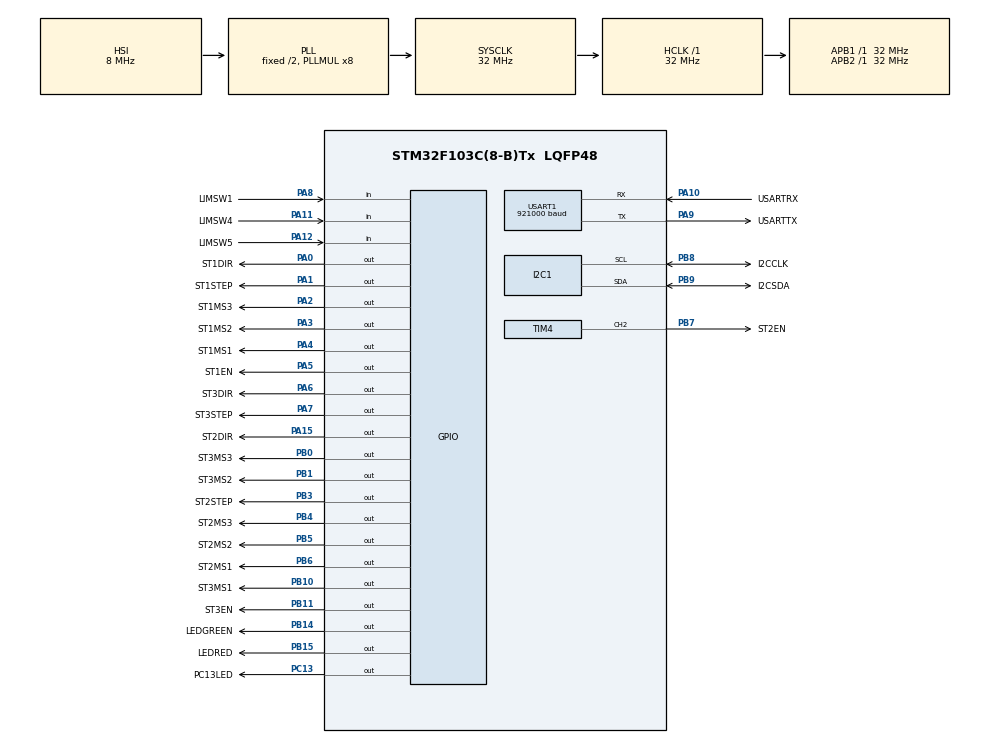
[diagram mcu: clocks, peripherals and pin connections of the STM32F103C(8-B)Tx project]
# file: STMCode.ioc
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I2C1.GeneralCallMode=I2C_GENERALCALL_ENABLE
I2C1.I2C_Mode=I2C_Fast
I2C1.OwnAddress=0x01
Mcu.Family=STM32F1
Mcu.Name=STM32F103C(8-B)Tx
Mcu.Package=LQFP48
NVIC.I2C1_ER_IRQn=true\:0\:0\:false\:true\:true\:2\:true\:true
NVIC.I2C1_EV_IRQn=true\:0\:0\:false\:true\:true\:1\:true\:true
NVIC.PriorityGroup=NVIC_PRIORITYGROUP_4
PA0-WKUP.GPIO_Label=ST1DIR
PA0-WKUP.GPIO_PuPd=GPIO_PULLDOWN
PA0-WKUP.Signal=GPIO_Output
PA1.GPIO_Label=ST1STEP
PA1.GPIO_PuPd=GPIO_PULLDOWN
PA1.Signal=GPIO_Output
PA10.GPIO_Label=USARTRX
PA10.Mode=Asynchronous
PA10.Signal=USART1_RX
PA11.GPIO_Label=LIMSW4
PA11.Signal=GPIO_Input
PA12.GPIO_Label=LIMSW5
PA12.Signal=GPIO_Input
PA13.Mode=Serial_Wire
PA13.Signal=SYS_JTMS-SWDIO
PA14.Mode=Serial_Wire
PA14.Signal=SYS_JTCK-SWCLK
PA15.GPIO_Label=ST2DIR
PA15.GPIO_PuPd=GPIO_PULLDOWN
PA15.Signal=GPIO_Output
PA2.GPIO_Label=ST1MS3
PA2.Signal=GPIO_Output
PA3.GPIO_Label=ST1MS2
PA3.Signal=GPIO_Output
PA4.GPIO_Label=ST1MS1
PA4.Signal=GPIO_Output
PA5.GPIO_Label=ST1EN
PA5.GPIO_PuPd=GPIO_PULLUP
PA5.Signal=GPIO_Output
PA6.GPIO_Label=ST3DIR
PA6.GPIO_PuPd=GPIO_PULLDOWN
PA6.Signal=GPIO_Output
PA7.GPIO_Label=ST3STEP
PA7.GPIO_PuPd=GPIO_PULLDOWN
PA7.Signal=GPIO_Output
PA8.GPIO_Label=LIMSW1
PA8.Signal=GPIO_Input
PA9.GPIO_Label=USARTTX
PA9.Mode=Asynchronous
PA9.Signal=USART1_TX
PB0.GPIO_Label=ST3MS3
PB0.Signal=GPIO_Output
PB1.GPIO_Label=ST3MS2
PB1.Signal=GPIO_Output
PB10.GPIO_Label=ST3MS1
PB10.Signal=GPIO_Output
PB11.GPIO_Label=ST3EN
PB11.GPIO_PuPd=GPIO_PULLUP
PB11.Signal=GPIO_Output
PB14.GPIO_Label=LEDGREEN
PB14.Signal=GPIO_Output
PB15.GPIO_Label=LEDRED
PB15.Signal=GPIO_Output
PB3.GPIO_Label=ST2STEP
PB3.GPIO_PuPd=GPIO_PULLDOWN
PB3.Signal=GPIO_Output
PB4.GPIO_Label=ST2MS3
PB4.Signal=GPIO_Output
PB5.GPIO_Label=ST2MS2
PB5.Signal=GPIO_Output
PB6.GPIO_Label=ST2MS1
PB6.Signal=GPIO_Output
PB7.GPIO_Label=ST2EN
PB7.GPIO_Speed=GPIO_SPEED_FREQ_MEDIUM
PB7.Signal=S_TIM4_CH2
PB8.GPIO_Label=I2CCLK
PB8.Mode=I2C
PB8.Signal=I2C1_SCL
PB9.GPIO_Label=I2CSDA
PB9.Mode=I2C
PB9.Signal=I2C1_SDA
PC13-TAMPER-RTC.GPIO_Label=PC13LED
PC13-TAMPER-RTC.Signal=GPIO_Output
ProjectManager.HeapSize=0x200
ProjectManager.StackSize=0x400
ProjectManager.TargetToolchain=MDK-ARM V5
RCC.AHBFreq_Value=32000000
RCC.APB1Freq_Value=32000000
RCC.APB1TimFreq_Value=32000000
RCC.APB2Freq_Value=32000000
RCC.APB2TimFreq_Value=32000000
RCC.HCLKFreq_Value=32000000
RCC.PLLMUL=RCC_PLL_MUL8
RCC.SYSCLKFreq_VALUE=32000000
RCC.SYSCLKSource=RCC_SYSCLKSOURCE_PLLCLK
RCC.USBFreq_Value=32000000
SH.S_TIM4_CH2.0=TIM4_CH2,PWM Generation2 CH2
TIM4.Channel-PWM\ Generation2\ CH2=TIM_CHANNEL_2
TIM4.Period=65535
USART1.BaudRate=921000
USART1.VirtualMode=VM_ASYNC
VP_TIM4_VS_ClockSourceINT.Mode=Internal
board=custom

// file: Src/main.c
/* USER CODE BEGIN Header */
/**
  ******************************************************************************
  * @file           : main.c
  * @brief          : Main program body
  ******************************************************************************
  * @attention
  *
  * <h2><center>&copy; Copyright (c) 2019 STMicroelectronics.
  * All rights reserved.</center></h2>
  *
  * This software component is licensed by ST under BSD 3-Clause license,
  * the "License"; You may not use this file except in compliance with the
  * License. You may obtain a copy of the License at:
  *                        opensource.org/licenses/BSD-3-Clause
  *
  ******************************************************************************
  */
/* USER CODE END Header */

#include "main.h"

/* USER CODE BEGIN Includes */
#include "stm32f1xx_hal_i2c.h"
#include "stdio.h"
#include "string.h"
//#include "config.h"
#include "motor.h"
/* USER CODE END Includes */

/* USER CODE BEGIN PD */

// Definitions used to define what submachine is currently loaded
#define HANDLER
//#define LATHE
//#define MILL
//#define DRILL

/* I2C Definitions */
#define I2C_ADDRESS        	0x1F
#define I2C_CLOCKSPEED   		400000
#define I2C_DUTYCYCLE    		I2C_DUTYCYCLE_2

/* UART Definitions */
#define UART_BAUDRATE				921000

/* USER CODE END PD */

I2C_HandleTypeDef hi2c1;

#if defined MILL || defined DRILL
TIM_HandleTypeDef htim4;
#endif

UART_HandleTypeDef huart1;

/* USER CODE BEGIN PV */
#if defined MILL || defined DRILL
TIM_HandleTypeDef htim4;
#endif

// Receive and Transmit Data Buffer declarations
uint8_t ReceiveBuf[RXBUFFERSIZE] = {NULL};
uint8_t TransmitBuf[TXBUFFERSIZE] = {NULL};

// Main Instruction Array
uint8_t instructionArray[200][28];
int instArrNextFree = 0;

// Creation of motor structure for each submachine
#ifdef HANDLER
struct Motor motor1 = {"Rail motor", "STEP", 1, 0, 0, 1, 0, 10, 0, 1};
struct Motor motor2 = {"Spin motor", "STEP", 2, 0, 0, 1, 0, 10, 0, 1};
struct Motor motor3 = {"Flip motor", "STEP", 3, 0, 0, 1, 0, 10, 0, 1};
#endif
#ifdef LATHE
struct Motor motor1 = {"Pen motor", "STEP", 1, 0, 0, 1, 0, 10, 0, 1};
//struct Motor motor2 = {"Spin motor", "STEP", 2, 0, 0, 1, 0, 10, 0, 1};
struct Motor motor3 = {"Vert motor", "STEP", 3, 0, 0, 1, 0, 10, 0, 1};
#endif
#ifdef MILL
struct Motor motor1 = {"Pen motor", "STEP", 1, 0, 0, 1, 0, 10, 0, 1};
struct Motor motor2 = {"Spin motor", "DC", 2, 0, 0, 1, 0, 10, 0, 1};
struct Motor motor3 = {"Vert motor", "STEP", 3, 0, 0, 1, 0, 10, 0, 1};
#endif
#ifdef DRILL
struct Motor motor1 = {"Pen motor", "STEP", 1, 0, 0, 1, 0, 10, 0, 1};
struct Motor motor2 = {"Spin motor", "DC", 2, 0, 0, 1, 0, 10, 0, 1};
struct Motor motor3 = {"Vert motor", "STEP", 3, 0, 0, 1, 0, 10, 0, 1};
#endif

// Volatile variable to store the state of the submachine
volatile uint8_t machineState;

uint8_t newline[] = "\n";

uint8_t testvariable = 0;

/* USER CODE END PV */

void SystemClock_Config(void);
static void MX_GPIO_Init(void);
static void MX_I2C1_Init(void);
static void MX_USART1_UART_Init(void);
#if defined MILL || defined DRILL
static void MX_TIM4_Init(void);
#endif
static void MX_NVIC_Init(void);
/* USER CODE BEGIN PFP */
#if defined MILL || defined DRILL
static void MX_TIM4_Init(void);
#endif

static void Flush_Buffer(uint8_t* pBuffer, uint16_t BufferLength);
static void Error_Handler(void);
/* USER CODE END PFP */

/* USER CODE BEGIN 0 */
struct __FILE{
  int handle;
  /* Whatever you require here. If the only file you are using is */
  /* standard output using printf() for debugging, no file handling */
  /* is required. */
};

FILE __stdout;

int fputc(int ch, FILE *f){
	HAL_UART_Transmit(&huart1, (uint8_t *)&ch, 1, 0xFFFF);
  return ch;
}

int ferror(FILE *f){
  /* Your implementation of ferror(). */
  return 0;
}
/* USER CODE END 0 */

int main(void)
{

  /* MCU Configuration--------------------------------------------------------*/

  /* Reset of all peripherals, Initializes the Flash interface and the Systick. */
  HAL_Init();

  /* Configure the system clock */
  SystemClock_Config();

  /* Initialize all configured peripherals */
  MX_GPIO_Init();
  MX_I2C1_Init();
  MX_USART1_UART_Init();

	#if defined MILL || defined DRILL
  MX_TIM4_Init();
	#endif

  /* Initialize interrupts */
  MX_NVIC_Init();
  /* USER CODE BEGIN 2 */
	#if defined MILL || defined DRILL
  MX_TIM4_Init();
	#endif

	if(HAL_I2C_EnableListen_IT(&hi2c1) != HAL_OK)
  {
    /* Transfer error in reception process */
    Error_Handler();
  }

	// Indicate start of program
	printf("Started Program\n");

	// Creation of motor structure for each submachine
	#ifdef HANDLER
	// Create an array of the motors
	struct Motor motors_array[3] = {motor1, motor2, motor3};
	// Initialise the step size for the motors if they are step motors
	initMotorsStepSize(motors_array, sizeof(motors_array)/sizeof(*motors_array));
	#endif

	#ifdef LATHE
	// Create an array of the motors
	struct Motor motors_array[2] = {motor1, motor3};
	// Initialise the step size for the motors if they are step motors
	initMotorsStepSize(motors_array, sizeof(motors_array)/sizeof(*motors_array));
	#endif

	#ifdef MILL
	// Create an array of the motors
	struct Motor motors_array[3] = {motor1, motor2, motor3};
	// Initialise the step size for the motors if they are step motors
	initMotorsStepSize(motors_array, sizeof(motors_array)/sizeof(*motors_array));
	#endif

	#ifdef DRILL
	// Create an array of the motors
	struct Motor motors_array[3] = {motor1, motor2, motor3};
	// Initialise the step size for the motors if they are step motors
	initMotorsStepSize(motors_array, sizeof(motors_array)/sizeof(*motors_array));
	#endif

	// Set the machine to a ready state
	machineState = MACHINE_READY;

  /* USER CODE END 2 */

  /* Infinite loop */
  /* USER CODE BEGIN WHILE */
  while (1)
  {

		//Test Stepper Motor Two
		//Enable Stepper

		HAL_GPIO_WritePin(ST2EN_GPIO_Port,ST2EN_Pin, GPIO_PIN_RESET);
		// Set direction
		HAL_GPIO_WritePin(ST2DIR_GPIO_Port,ST2DIR_Pin, GPIO_PIN_SET);
		// for loop to run the stepper in this direction for 50 steps
		for(int a = 0; a < 525; a = a + 1 ){
      HAL_GPIO_WritePin(ST2STEP_GPIO_Port,ST2STEP_Pin,(GPIO_PinState)1);
			HAL_GPIO_WritePin(ST2STEP_GPIO_Port,ST2STEP_Pin,(GPIO_PinState)0);
			HAL_Delay(1);
		}
		HAL_GPIO_WritePin(ST2EN_GPIO_Port,ST2EN_Pin,(GPIO_PinState)1);
		HAL_Delay(200);

		HAL_GPIO_WritePin(ST2EN_GPIO_Port,ST2EN_Pin,(GPIO_PinState)0);
		HAL_GPIO_WritePin(ST2DIR_GPIO_Port,ST2DIR_Pin,(GPIO_PinState)0);
		for(int a = 0; a < 525; a = a + 1 ){
      HAL_GPIO_WritePin(ST2STEP_GPIO_Port,ST2STEP_Pin,(GPIO_PinState)1);
			HAL_GPIO_WritePin(ST2STEP_GPIO_Port,ST2STEP_Pin,(GPIO_PinState)0);
			HAL_Delay(1);
		}
		HAL_GPIO_WritePin(ST2EN_GPIO_Port,ST2EN_Pin,(GPIO_PinState)1);
		HAL_Delay(200);

		HAL_GPIO_WritePin(ST2EN_GPIO_Port,ST2EN_Pin, GPIO_PIN_SET);
    /* USER CODE END WHILE */

    /* USER CODE BEGIN 3 */
		HAL_UART_Transmit(&huart1,(uint8_t *)instructionArray[instArrNextFree-1],sizeof(instructionArray[instArrNextFree-1]),HAL_MAX_DELAY);
	  HAL_UART_Transmit(&huart1,(uint8_t *)newline,sizeof(newline),HAL_MAX_DELAY);
  }
  /* USER CODE END 3 */
}

void SystemClock_Config(void)
{
  RCC_OscInitTypeDef RCC_OscInitStruct = {0};
  RCC_ClkInitTypeDef RCC_ClkInitStruct = {0};

  /** Initializes the CPU, AHB and APB busses clocks
  */
  RCC_OscInitStruct.OscillatorType = RCC_OSCILLATORTYPE_HSI;
  RCC_OscInitStruct.HSIState = RCC_HSI_ON;
  RCC_OscInitStruct.HSICalibrationValue = RCC_HSICALIBRATION_DEFAULT;
  RCC_OscInitStruct.PLL.PLLState = RCC_PLL_ON;
  RCC_OscInitStruct.PLL.PLLSource = RCC_PLLSOURCE_HSI_DIV2;
  RCC_OscInitStruct.PLL.PLLMUL = RCC_PLL_MUL8;
  if (HAL_RCC_OscConfig(&RCC_OscInitStruct) != HAL_OK)
  {
    Error_Handler();
  }
  /** Initializes the CPU, AHB and APB busses clocks
  */
  RCC_ClkInitStruct.ClockType = RCC_CLOCKTYPE_HCLK|RCC_CLOCKTYPE_SYSCLK
                              |RCC_CLOCKTYPE_PCLK1|RCC_CLOCKTYPE_PCLK2;
  RCC_ClkInitStruct.SYSCLKSource = RCC_SYSCLKSOURCE_PLLCLK;
  RCC_ClkInitStruct.AHBCLKDivider = RCC_SYSCLK_DIV1;
  RCC_ClkInitStruct.APB1CLKDivider = RCC_HCLK_DIV1;
  RCC_ClkInitStruct.APB2CLKDivider = RCC_HCLK_DIV1;

  if (HAL_RCC_ClockConfig(&RCC_ClkInitStruct, FLASH_LATENCY_1) != HAL_OK)
  {
    Error_Handler();
  }
}

/**
  * @brief NVIC Configuration.
  * @retval None
  */
static void MX_NVIC_Init(void)
{
  /* I2C1_EV_IRQn interrupt configuration */
  HAL_NVIC_SetPriority(I2C1_EV_IRQn, 0, 0);
  HAL_NVIC_EnableIRQ(I2C1_EV_IRQn);
  /* I2C1_ER_IRQn interrupt configuration */
  HAL_NVIC_SetPriority(I2C1_ER_IRQn, 0, 0);
  HAL_NVIC_EnableIRQ(I2C1_ER_IRQn);
}

static void MX_I2C1_Init(void)
{

  /* USER CODE BEGIN I2C1_Init 1 */
	hi2c1.Instance 							= I2Cx;
  hi2c1.Init.ClockSpeed 			= I2C_CLOCKSPEED;
  hi2c1.Init.DutyCycle 				= I2C_DUTYCYCLE;
  hi2c1.Init.OwnAddress1 			= I2C_ADDRESS<<1;
  hi2c1.Init.AddressingMode 	= I2C_ADDRESSINGMODE_7BIT;
  hi2c1.Init.DualAddressMode 	= I2C_DUALADDRESS_DISABLE;
  hi2c1.Init.OwnAddress2 			= 0;
  hi2c1.Init.GeneralCallMode 	= I2C_GENERALCALL_ENABLE;
  hi2c1.Init.NoStretchMode 		= I2C_NOSTRETCH_DISABLE;
  /* USER CODE END I2C1_Init 1 */
  hi2c1.Instance 							= I2Cx;
  hi2c1.Init.ClockSpeed 			= I2C_CLOCKSPEED;
  hi2c1.Init.DutyCycle 				= I2C_DUTYCYCLE;
  hi2c1.Init.OwnAddress1 			= I2C_ADDRESS<<1;
  hi2c1.Init.AddressingMode 	= I2C_ADDRESSINGMODE_7BIT;
  hi2c1.Init.DualAddressMode 	= I2C_DUALADDRESS_DISABLE;
  hi2c1.Init.OwnAddress2 			= 0;
  hi2c1.Init.GeneralCallMode 	= I2C_GENERALCALL_ENABLE;
  hi2c1.Init.NoStretchMode 		= I2C_NOSTRETCH_DISABLE;

	if (HAL_I2C_Init(&hi2c1) != HAL_OK)
  {
    Error_Handler();
  }

}

#if defined MILL || defined DRILL
static void MX_TIM4_Init(void)
{

  TIM_ClockConfigTypeDef sClockSourceConfig = {0};
  TIM_MasterConfigTypeDef sMasterConfig = {0};
  TIM_OC_InitTypeDef sConfigOC = {0};

  htim4.Instance = TIM4;
  htim4.Init.Prescaler = 0;
  htim4.Init.CounterMode = TIM_COUNTERMODE_UP;
  htim4.Init.Period = 65535;
  htim4.Init.ClockDivision = TIM_CLOCKDIVISION_DIV1;
  htim4.Init.AutoReloadPreload = TIM_AUTORELOAD_PRELOAD_DISABLE;
  if (HAL_TIM_Base_Init(&htim4) != HAL_OK)
  {
    Error_Handler();
  }
  sClockSourceConfig.ClockSource = TIM_CLOCKSOURCE_INTERNAL;
  if (HAL_TIM_ConfigClockSource(&htim4, &sClockSourceConfig) != HAL_OK)
  {
    Error_Handler();
  }
  if (HAL_TIM_PWM_Init(&htim4) != HAL_OK)
  {
    Error_Handler();
  }
  sMasterConfig.MasterOutputTrigger = TIM_TRGO_RESET;
  sMasterConfig.MasterSlaveMode = TIM_MASTERSLAVEMODE_DISABLE;
  if (HAL_TIMEx_MasterConfigSynchronization(&htim4, &sMasterConfig) != HAL_OK)
  {
    Error_Handler();
  }
  sConfigOC.OCMode = TIM_OCMODE_PWM1;
  sConfigOC.Pulse = 0;
  sConfigOC.OCPolarity = TIM_OCPOLARITY_HIGH;
  sConfigOC.OCFastMode = TIM_OCFAST_DISABLE;
  if (HAL_TIM_PWM_ConfigChannel(&htim4, &sConfigOC, TIM_CHANNEL_2) != HAL_OK)
  {
    Error_Handler();
  }
  HAL_TIM_MspPostInit(&htim4);

}
#endif

static void MX_USART1_UART_Init(void)
{

  /* USER CODE BEGIN USART1_Init 1 */
	huart1.Instance 						= USART1;
  huart1.Init.BaudRate 				= UART_BAUDRATE;
  huart1.Init.WordLength 			= UART_WORDLENGTH_8B;
  huart1.Init.StopBits 				= UART_STOPBITS_1;
  huart1.Init.Parity 					= UART_PARITY_NONE;
  huart1.Init.Mode 						= UART_MODE_TX_RX;
  huart1.Init.HwFlowCtl 			= UART_HWCONTROL_NONE;
  huart1.Init.OverSampling 		= UART_OVERSAMPLING_16;
  /* USER CODE END USART1_Init 1 */
  huart1.Instance 						= USART1;
  huart1.Init.BaudRate 				= UART_BAUDRATE;
  huart1.Init.WordLength 			= UART_WORDLENGTH_8B;
  huart1.Init.StopBits 				= UART_STOPBITS_1;
  huart1.Init.Parity 					= UART_PARITY_NONE;
  huart1.Init.Mode 						= UART_MODE_TX_RX;
  huart1.Init.HwFlowCtl 			= UART_HWCONTROL_NONE;
  huart1.Init.OverSampling 		= UART_OVERSAMPLING_16;

	if (HAL_UART_Init(&huart1) != HAL_OK)
  {
    Error_Handler();
  }

}

static void MX_GPIO_Init(void)
{
  GPIO_InitTypeDef GPIO_InitStruct = {0};

  /* GPIO Ports Clock Enable */
  __HAL_RCC_GPIOC_CLK_ENABLE();
  __HAL_RCC_GPIOA_CLK_ENABLE();
  __HAL_RCC_GPIOB_CLK_ENABLE();

  /*Configure GPIO pin Output Level */
  HAL_GPIO_WritePin(PC13LED_GPIO_Port, PC13LED_Pin, GPIO_PIN_RESET);

  /*Configure GPIO pin Output Level */

  HAL_GPIO_WritePin(GPIOA, ST1DIR_Pin|ST1STEP_Pin|ST1MS3_Pin|ST1MS2_Pin
                          |ST1MS1_Pin|ST1EN_Pin|ST3DIR_Pin|ST3STEP_Pin
                          |ST2DIR_Pin, GPIO_PIN_RESET);

  /*Configure GPIO pin Output Level */

  HAL_GPIO_WritePin(GPIOB, ST3MS3_Pin|ST3MS2_Pin|ST3MS1_Pin|ST3EN_Pin
                          |LEDGREEN_Pin|LEDRED_Pin|ST2STEP_Pin|ST2MS3_Pin
                          |ST2MS2_Pin|ST2MS1_Pin, GPIO_PIN_RESET);

	#if defined HANDLER || defined LATHE
	/*Configure GPIO pin Output Level */
	// Used to initialise the enable pin for Motor 2 as a stepper motor
  HAL_GPIO_WritePin(GPIOB, ST2EN_Pin, GPIO_PIN_RESET);
  #endif

	/*Configure GPIO pin : PC13LED_Pin */
  GPIO_InitStruct.Pin = PC13LED_Pin;
  GPIO_InitStruct.Mode = GPIO_MODE_OUTPUT_PP;
  GPIO_InitStruct.Pull = GPIO_NOPULL;
  GPIO_InitStruct.Speed = GPIO_SPEED_FREQ_LOW;
  HAL_GPIO_Init(PC13LED_GPIO_Port, &GPIO_InitStruct);

  /*Configure GPIO pins : ST1DIR_Pin ST1STEP_Pin ST3DIR_Pin ST3STEP_Pin
                           ST2DIR_Pin */

  GPIO_InitStruct.Pin = ST1DIR_Pin|ST1STEP_Pin|ST3DIR_Pin|ST3STEP_Pin
                          |ST2DIR_Pin;
  GPIO_InitStruct.Mode = GPIO_MODE_OUTPUT_PP;
  GPIO_InitStruct.Pull = GPIO_PULLDOWN;
  GPIO_InitStruct.Speed = GPIO_SPEED_FREQ_LOW;
  HAL_GPIO_Init(GPIOA, &GPIO_InitStruct);

  /*Configure GPIO pins : ST1MS3_Pin ST1MS2_Pin ST1MS1_Pin */

  GPIO_InitStruct.Pin = ST1MS3_Pin|ST1MS2_Pin|ST1MS1_Pin;
  GPIO_InitStruct.Mode = GPIO_MODE_OUTPUT_PP;
  GPIO_InitStruct.Pull = GPIO_NOPULL;
  GPIO_InitStruct.Speed = GPIO_SPEED_FREQ_LOW;
  HAL_GPIO_Init(GPIOA, &GPIO_InitStruct);

  /*Configure GPIO pin : ST1EN_Pin */

  GPIO_InitStruct.Pin = ST1EN_Pin;
  GPIO_InitStruct.Mode = GPIO_MODE_OUTPUT_PP;
  GPIO_InitStruct.Pull = GPIO_PULLUP;
  GPIO_InitStruct.Speed = GPIO_SPEED_FREQ_LOW;
  HAL_GPIO_Init(ST1EN_GPIO_Port, &GPIO_InitStruct);

  /*Configure GPIO pins : ST3MS3_Pin ST3MS2_Pin ST3MS1_Pin LEDGREEN_Pin
                           LEDRED_Pin ST2MS3_Pin ST2MS2_Pin ST2MS1_Pin */

  GPIO_InitStruct.Pin = ST3MS3_Pin|ST3MS2_Pin|ST3MS1_Pin|LEDGREEN_Pin
                          |LEDRED_Pin|ST2MS3_Pin|ST2MS2_Pin|ST2MS1_Pin;
  GPIO_InitStruct.Mode = GPIO_MODE_OUTPUT_PP;
  GPIO_InitStruct.Pull = GPIO_NOPULL;
  GPIO_InitStruct.Speed = GPIO_SPEED_FREQ_LOW;
  HAL_GPIO_Init(GPIOB, &GPIO_InitStruct);

  /*Configure GPIO pin : ST3EN_Pin */

  GPIO_InitStruct.Pin = ST3EN_Pin;
  GPIO_InitStruct.Mode = GPIO_MODE_OUTPUT_PP;
  GPIO_InitStruct.Pull = GPIO_PULLUP;
  GPIO_InitStruct.Speed = GPIO_SPEED_FREQ_LOW;
  HAL_GPIO_Init(ST3EN_GPIO_Port, &GPIO_InitStruct);

	#if defined HANDLER || defined LATHE
	/*Configure GPIO pin : ST2EN_Pin */

  GPIO_InitStruct.Pin = ST2EN_Pin;
  GPIO_InitStruct.Mode = GPIO_MODE_OUTPUT_PP;
  GPIO_InitStruct.Pull = GPIO_PULLUP;
  GPIO_InitStruct.Speed = GPIO_SPEED_FREQ_LOW;
  HAL_GPIO_Init(ST3EN_GPIO_Port, &GPIO_InitStruct);
	#endif

  /*Configure GPIO pins : LIMSW1_Pin LIMSW4_Pin LIMSW5_Pin */

  GPIO_InitStruct.Pin = LIMSW1_Pin|LIMSW4_Pin|LIMSW5_Pin;
  GPIO_InitStruct.Mode = GPIO_MODE_INPUT;
  GPIO_InitStruct.Pull = GPIO_NOPULL;
  HAL_GPIO_Init(GPIOA, &GPIO_InitStruct);

  /*Configure GPIO pin : ST2STEP_Pin */

  GPIO_InitStruct.Pin = ST2STEP_Pin;
  GPIO_InitStruct.Mode = GPIO_MODE_OUTPUT_PP;
  GPIO_InitStruct.Pull = GPIO_PULLDOWN;
  GPIO_InitStruct.Speed = GPIO_SPEED_FREQ_LOW;
  HAL_GPIO_Init(ST2STEP_GPIO_Port, &GPIO_InitStruct);

}

/* USER CODE BEGIN 4 */
/**
  * @brief  This function sets up the I2C interface in slave mode for transmit or receive
	*					depending on the read/write bit sent from the master
  * @param  hi2c Pointer to a I2C_HandleTypeDef structure that contains
  *                the configuration information for the specified I2C.
  * @param  TrasnferDirection Data direction request from master (I2C_DIRECTION_RECEIVE, I2C_DIRECTION_TRANSMIT)
  * @param  AddrMatchCode Address match code, corresponding to which dual address was matched
  * @retval HAL status
  */
void HAL_I2C_AddrCallback(I2C_HandleTypeDef *hi2c, uint8_t TransferDirection, uint16_t AddrMatchCode) {

	// If the Transfer Direction is set as I2C_DIRECTION_RECEIVE, set the I2C peripheral in SLAVE mode
	// as a transmitter
	if (TransferDirection == I2C_DIRECTION_RECEIVE) {
		//printf("TransferDirectionReceive\n");
		if(HAL_I2C_Slave_Sequential_Transmit_IT(hi2c, (uint8_t *)TransmitBuf, TXBUFFERSIZE,I2C_LAST_FRAME) != HAL_OK) {
			// Transfer error in reception process
			Error_Handler();
		}

	}
	else {
		//printf("TransferDirectionTransmit\n");
		if(HAL_I2C_Slave_Sequential_Receive_IT(hi2c, (uint8_t *)ReceiveBuf, RXBUFFERSIZE,I2C_FIRST_FRAME) != HAL_OK) {
			// Transfer error in transmition process
			Error_Handler();
		}

	}

	// Clear the ADDR Flag
	__HAL_I2C_CLEAR_ADDRFLAG(hi2c);

	// Turn on the PC13 LED
	HAL_GPIO_WritePin(PC13LED_GPIO_Port,PC13LED_Pin,GPIO_PIN_SET);

}

/**
  * @brief  This function is called when the I2C is finished Listening
	*					Must reinitialise the Listening
  * @param  hi2c Pointer to a I2C_HandleTypeDef structure that contains
  *                the configuration information for the specified I2C.
  */
void HAL_I2C_ListenCpltCallback(I2C_HandleTypeDef *hi2c) {
	// Reinstate the Listening Mode for the I2C bus

	if(HAL_I2C_EnableListen_IT(hi2c) != HAL_OK)
  {
    // Transfer error in reception process
    Error_Handler();
  }

	// Depending on the initial instruction byte put the data in the intruction array
	// or put the machine into the required state

	if(ReceiveBuf[0] == NORM_INST) {
		// Standard straight path instruction received
		// For every element in the receive buffer, add it to the next free element of the instructionArray
		for(int i = 0; i < (sizeof(ReceiveBuf)/sizeof(*ReceiveBuf)) - 1; i++) {
			instructionArray[instArrNextFree][i] = ReceiveBuf[i+1];
		}
		// Increment the next free position
		instArrNextFree += 1;
	} else if(ReceiveBuf[0] == START_INST) {
		// A Start instruction was sent, initiate the machine into a running state
		machineState = MACHINE_RUNNING;
	} else if(ReceiveBuf[0] == PAUSE_INST) {
		// A Pause instruction was sent, set the machine into a pause state
		machineState = MACHINE_PAUSED;
	}

	// Turn off the PC13 LED
	HAL_GPIO_WritePin(PC13LED_GPIO_Port,PC13LED_Pin,GPIO_PIN_RESET);
	//printf("ListenCpltCallback\n");
	//HAL_UART_Transmit(&huart1,(uint8_t *)ReceiveBuf,sizeof(ReceiveBuf),HAL_MAX_DELAY);
	//HAL_UART_Transmit(&huart1,(uint8_t *)newline,sizeof(newline),HAL_MAX_DELAY);

	//Empty the transmit and receive buffers ready for the next transmission
	Flush_Buffer(ReceiveBuf,sizeof(ReceiveBuf));
	//Flush_Buffer(TransmitBuf,sizeof(TransmitBuf));
}

/**
  * @brief  This function is called when the I2C is finished transmitting all data in Slave mode
  * @param  hi2c Pointer to a I2C_HandleTypeDef structure that contains
  *                the configuration information for the specified I2C.
  */
void HAL_I2C_SlaveTxCpltCallback(I2C_HandleTypeDef *hi2c) {
	// Turn off PC13 LED
	HAL_GPIO_WritePin(PC13LED_GPIO_Port,PC13LED_Pin,GPIO_PIN_RESET);
	//HAL_UART_Transmit(&UartDebugHandle,TransmitBuf,RXBUFFERSIZE,HAL_MAX_DELAY);
	//HAL_UART_Transmit(&UartDebugHandle,newline,RXBUFFERSIZE,HAL_MAX_DELAY);
	//printf("SlaveTxCpltCallback\n");
}

/**
  * @brief  This function is called when the I2C is finished receiving all data in Slave mode
  * @param  hi2c Pointer to a I2C_HandleTypeDef structure that contains
  *                the configuration information for the specified I2C.
  */
void HAL_I2C_SlaveRxCpltCallback(I2C_HandleTypeDef *hi2c)
{
	// If the first byte written is requesting a read then put the respective data in the transmit buffer

	switch(ReceiveBuf[0]) {
		case READ_INST_SPEED_M1:
			TransmitBuf[0] = (uint8_t)(((int)(motor1.currentSpeed) >> 8) & 0xFF);
			TransmitBuf[1] = (uint8_t)((int)(motor1.currentSpeed) & 0xFF);
			break;
		case READ_INST_SPEED_M2:
			TransmitBuf[0] = (uint8_t)(((int)(motor2.currentSpeed) >> 8) & 0xFF);
			TransmitBuf[1] = (uint8_t)((int)(motor2.currentSpeed) & 0xFF);
			break;
		case READ_INST_SPEED_M3:
			TransmitBuf[0] = (uint8_t)(((int)(motor3.currentSpeed) >> 8) & 0xFF);
			TransmitBuf[1] = (uint8_t)((int)(motor3.currentSpeed) & 0xFF);
			break;
		case READ_INST_POS_M1:
			TransmitBuf[0] = (uint8_t)(((int)(motor1.currentStep) >> 8) & 0xFF);
			TransmitBuf[1] = (uint8_t)((int)(motor1.currentStep) & 0xFF);
			break;
		case READ_INST_POS_M2:
			TransmitBuf[0] = (uint8_t)(((int)(motor2.currentStep) >> 8) & 0xFF);
			TransmitBuf[1] = (uint8_t)((int)(motor2.currentStep) & 0xFF);
			break;
		case READ_INST_POS_M3:
			TransmitBuf[0] = (uint8_t)(((int)(motor3.currentStep) >> 8) & 0xFF);
			TransmitBuf[1] = (uint8_t)((int)(motor3.currentStep) & 0xFF);
			break;
	}

	// Turn on PC13 LED
	HAL_GPIO_WritePin(PC13LED_GPIO_Port,PC13LED_Pin,GPIO_PIN_SET);
	//printf("SlaveRxCpltCallback\n");
}

/**
  * @brief  Flushes the buffer
  * @param  pBuffer: buffers to be flushed.
  * @param  BufferLength: buffer's length
  * @retval None
  */
static void Flush_Buffer(uint8_t* pBuffer, uint16_t BufferLength)
{
  while (BufferLength--)
  {
    *pBuffer = 0;

    pBuffer++;
  }
}

uint8_t Get_First_Byte_of_Receive(void) {
	return ReceiveBuf[0];
}

/* USER CODE END 4 */

void Error_Handler(void)
{
  /* USER CODE BEGIN Error_Handler_Debug */
	/* User can add his own implementation to report the HAL error return state */
  /* Error if INBUILT LED is slowly blinking (1 sec. period) */
  while(1)
  {
    HAL_GPIO_TogglePin(PC13LED_GPIO_Port,PC13LED_Pin);
    HAL_Delay(1000);
  }
  /* USER CODE END Error_Handler_Debug */
}

/************************ (C) COPYRIGHT STMicroelectronics *****END OF FILE****/
